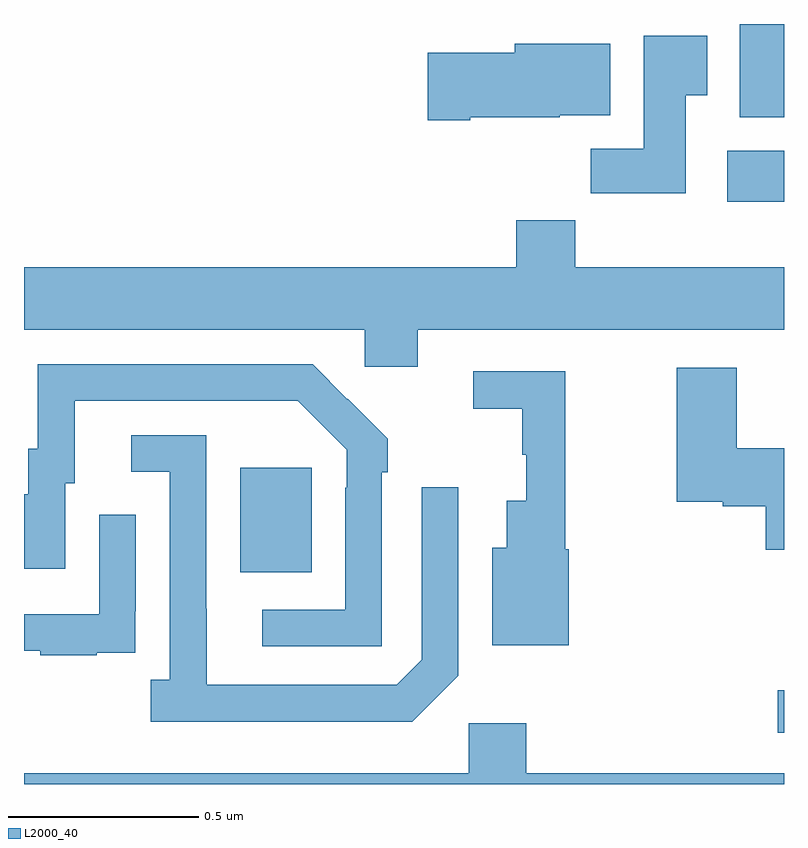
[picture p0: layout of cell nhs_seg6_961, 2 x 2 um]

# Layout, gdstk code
import gdstk
lib = gdstk.Library(unit=1e-6, precision=1e-09)
def R(c, l, rs):  # rectangles x0, y0, x1, y1
    for r in rs: c.add(gdstk.rectangle(r[:2], r[2:], *l))
def P(c, l, *ps):  # polygons
    for p in ps: c.add(gdstk.Polygon(p, *l))
L2000_40 = (2000, 40)

nhs_seg6_961 = lib.new_cell('nhs_seg6_961')
R(nhs_seg6_961, L2000_40, [(124.984,919.635,125,919.747), (123.569,920.057,123.757,920.332), (124.851,921.032,125,921.166), (124.883,921.254,125,921.5)])
P(nhs_seg6_961, L2000_40, [(124.741,921.313),(124.798,921.313),(124.798,921.469),(124.631,921.469),(124.631,921.172),(124.492,921.172),(124.492,921.054),(124.741,921.054)],
  [(124.174,921.254),(124.41,921.254),(124.41,921.26),(124.543,921.26),(124.543,921.448),(124.292,921.448),(124.292,921.425),(124.062,921.425),(124.062,921.247),(124.174,921.247)],
  [(124.036,920.696),(125,920.696),(125,920.86),(124.451,920.86),(124.451,920.984),(124.295,920.984),(124.295,920.86),(123,920.86),(123,920.696),(123.897,920.696),(123.897,920.598),(124.036,920.598)],
  [(123.942,920.321),(123.957,920.321),(123.957,920.409),(123.852,920.514),(123.851,920.513),(123.76,920.604),(123.036,920.604),(123.036,920.382),(123.011,920.382),(123.011,920.263),(123,920.263),(123,920.067),(123.109,920.067),(123.109,920.292),(123.133,920.292),(123.133,920.508),(123.721,920.508),(123.849,920.379),(123.849,920.279),(123.846,920.279),(123.846,919.959),(123.627,919.959),(123.627,919.863),(123.942,919.863)],
  [(125,920.383),(124.876,920.383),(124.876,920.596),(124.718,920.596),(124.718,920.243),(124.839,920.243),(124.839,920.231),(124.952,920.231),(124.952,920.117),(125,920.117)],
  [(124.433,920.118),(124.424,920.118),(124.424,920.586),(124.182,920.586),(124.182,920.488),(124.311,920.488),(124.311,920.367),(124.322,920.367),(124.322,920.245),(124.271,920.245),(124.271,920.122),(124.232,920.122),(124.232,919.865),(124.433,919.865)],
  [(124.143,919.785),(124.143,920.281),(124.047,920.281),(124.047,919.827),(123.981,919.761),(123.481,919.761),(123.481,919.961),(123.48,919.961),(123.48,920.418),(123.282,920.418),(123.282,920.322),(123.384,920.322),(123.384,919.774),(123.333,919.774),(123.333,919.664),(124.022,919.664)],
  [(123.191,919.845),(123.293,919.845),(123.293,919.954),(123.294,919.954),(123.294,920.209),(123.198,920.209),(123.198,919.947),(123,919.947),(123,919.851),(123.043,919.851),(123.043,919.839),(123.191,919.839)],
  [(125,919.528),(124.322,919.528),(124.322,919.66),(124.17,919.66),(124.17,919.528),(123,919.528),(123,919.5),(125,919.5)])

lib.write_gds('nhs_seg6_961.gds')
